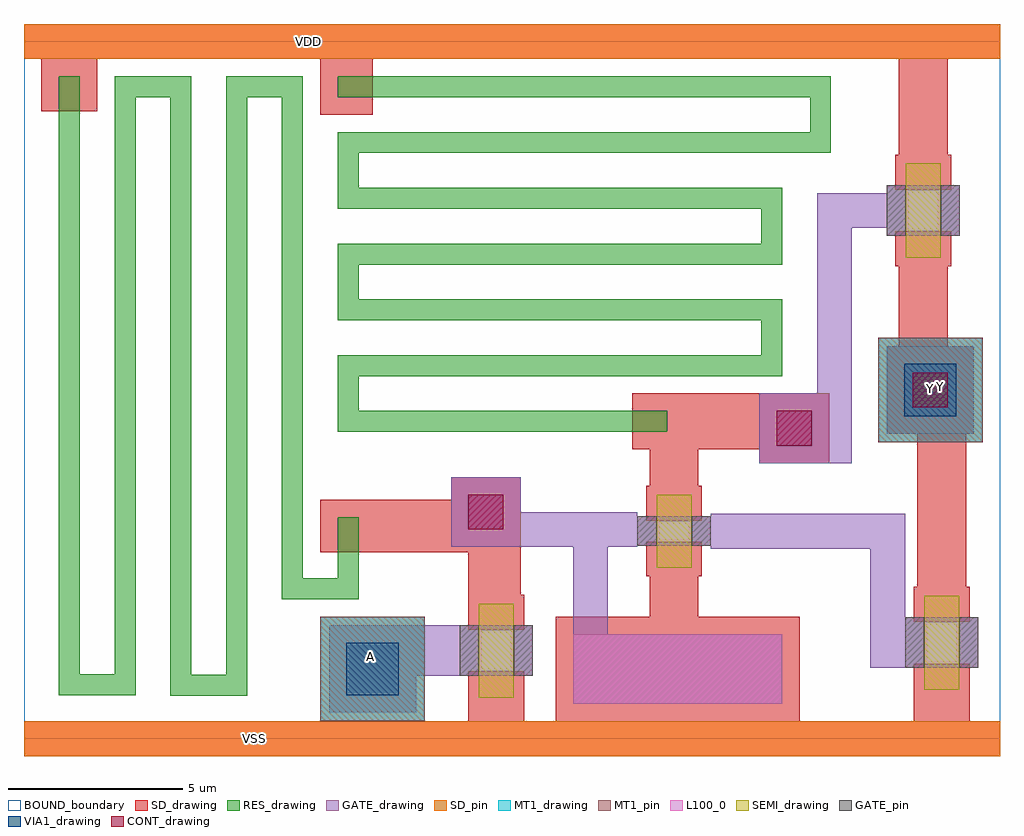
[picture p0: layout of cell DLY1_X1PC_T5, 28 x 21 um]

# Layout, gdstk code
from math import pi, radians
import gdstk
lib = gdstk.Library(unit=1e-6, precision=1e-09)
def R(c, l, rs):  # rectangles x0, y0, x1, y1
    for r in rs: c.add(gdstk.rectangle(r[:2], r[2:], *l))
def P(c, l, *ps):  # polygons
    for p in ps: c.add(gdstk.Polygon(p, *l))
RES_drawing = (1, 0)
SEMI_drawing = (3, 0)
SD_drawing = (10, 0)
SD_pin = (10, 3)
GATE_drawing = (11, 0)
GATE_pin = (11, 3)
MT1_drawing = (20, 0)
MT1_pin = (20, 3)
CONT_drawing = (30, 0)
VIA1_drawing = (41, 0)
L100_0 = (100, 0)
BOUND_boundary = (150, 5)

nch_cdns_772544866360 = lib.new_cell('nch_CDNS_772544866360')
R(nch_cdns_772544866360, SEMI_drawing, [(-1.05,-0.5,1.05,0.5)])
R(nch_cdns_772544866360, SD_drawing, [(-1.3,-0.8,-0.3,0.8), (0.3,-0.8,1.3,0.8)])
R(nch_cdns_772544866360, GATE_drawing, [(-0.425,-1.05,0.425,1.05)])
R(nch_cdns_772544866360, GATE_pin, [(-0.425,-1.05,0.425,-0.5), (-0.425,0.5,0.425,1.05)])

nch_cdns_772544866361 = lib.new_cell('nch_CDNS_772544866361')
R(nch_cdns_772544866361, SEMI_drawing, [(-1.35,-0.5,1.35,0.5)])
R(nch_cdns_772544866361, SD_drawing, [(-1.6,-0.8,-0.6,0.8), (0.6,-0.8,1.6,0.8)])
R(nch_cdns_772544866361, GATE_drawing, [(-0.725,-1.05,0.725,1.05)])
R(nch_cdns_772544866361, GATE_pin, [(-0.725,-1.05,0.725,-0.5), (-0.725,0.5,0.725,1.05)])

cap_cdns_772544866362 = lib.new_cell('cap_CDNS_772544866362')
R(cap_cdns_772544866362, SD_drawing, [(-1.5,-3.5,1.5,3.5)])
R(cap_cdns_772544866362, GATE_drawing, [(-1,-3,1,3)])
R(cap_cdns_772544866362, L100_0, [(-1,-3,1,3)])

sd_gate_cdns_77254486636 = lib.new_cell('SD_GATE_CDNS_772544866360')
R(sd_gate_cdns_77254486636, SD_drawing, [(-1,-1,1,1)])
R(sd_gate_cdns_77254486636, GATE_drawing, [(-1,-1,1,1)])
R(sd_gate_cdns_77254486636, CONT_drawing, [(-0.5,-0.5,0.5,0.5)])

gate_mt1_cdns_7725448663 = lib.new_cell('GATE_MT1_CDNS_772544866361')
R(gate_mt1_cdns_7725448663, GATE_drawing, [(-1.25,-1.25,1.25,1.25)])
R(gate_mt1_cdns_7725448663, MT1_drawing, [(-1.25,-1.25,1.25,1.25)])
R(gate_mt1_cdns_7725448663, VIA1_drawing, [(-0.75,-0.75,0.75,0.75)])

c_sd_gate_cdns_77254486636 = lib.new_cell('SD_GATE_CDNS_772544866362')
R(c_sd_gate_cdns_77254486636, SD_drawing, [(-1.25,-1.25,1.25,1.25)])
R(c_sd_gate_cdns_77254486636, GATE_drawing, [(-1.25,-1.25,1.25,1.25)])
R(c_sd_gate_cdns_77254486636, CONT_drawing, [(-0.5,-0.5,0.5,0.5)])

dly1_x1pc_t5 = lib.new_cell('DLY1_X1PC_T5')
R(dly1_x1pc_t5, SD_drawing, [(0,-0.5,28,0.5), (12.75,0.5,14.35,0.925), (12.75,4.125,14.25,6.9), (8.5,5.35,10.1,6.85), (9.9,5.35,11.5,6.85), (17.95,7.25,19.35,8.3), (17.45,8.3,18.95,9.9), (8.5,17.9,10,19.5), (0.5,18,2.1,19.5), (0,19.5,28,20.5)])
R(dly1_x1pc_t5, SD_pin, [(0,-0.5,28,0.5), (0,19.5,28,20.5)])
R(dly1_x1pc_t5, GATE_drawing, [(11.25,1.8,12.5,3.25), (22.75,7.9,23.75,15.65)])
P(dly1_x1pc_t5, GATE_drawing, [(19.8,6.45),(19.8,5.45),(19.7,5.45),(19.7,5.575),(19.65,5.575),(19.65,6.325),(19.7,6.325),(19.7,6.45)],
  [(17.5,6.5),(17.5,5.5),(17.6,5.5),(17.6,5.575),(17.65,5.575),(17.65,6.325),(17.6,6.325),(17.6,6.5)])
R(dly1_x1pc_t5, MT1_drawing, [(8.5,0.5,11.5,3.5), (24.5,8.5,27.5,11.5)])
R(dly1_x1pc_t5, MT1_pin, [(8.5,0.5,11.5,3.5), (24.5,8.5,27.5,11.5)])
R(dly1_x1pc_t5, BOUND_boundary, [(0,0,28,20)])
dly1_x1pc_t5.add(gdstk.FlexPath([(23.35,15.15),(24.75,15.15)], 1, ends=(0.5, 0), simple_path=True, layer=11, datatype=0))  # GATE_drawing
dly1_x1pc_t5.add(gdstk.FlexPath([(16.25,6),(16.25,1)], 1, ends=(0.5, 0), simple_path=True, layer=11, datatype=0))  # GATE_drawing
dly1_x1pc_t5.add(gdstk.FlexPath([(24.775,3.35),(24.775,5.95)], 1, ends=(1.325, 0.5), simple_path=True, layer=11, datatype=0))  # GATE_drawing
dly1_x1pc_t5.add(gdstk.FlexPath([(12.95,6),(16.25,6)], 1, ends=(0, 0.5), simple_path=True, layer=11, datatype=0))  # GATE_drawing
dly1_x1pc_t5.add(gdstk.FlexPath([(17.5,6),(16.25,6)], 1, ends=(0, 0.5), simple_path=True, layer=11, datatype=0))  # GATE_drawing
dly1_x1pc_t5.add(gdstk.FlexPath([(24.775,5.95),(19.8,5.95)], 1, ends=(0.5, 0), simple_path=True, layer=11, datatype=0))  # GATE_drawing
dly1_x1pc_t5.add(gdstk.FlexPath([(26.325,1.15),(26.325,0.5)], 1.6, ends="flush", simple_path=True, layer=10, datatype=0))  # SD_drawing
dly1_x1pc_t5.add(gdstk.FlexPath([(25.8,13.55),(25.8,11)], 1.4, ends="flush", simple_path=True, layer=10, datatype=0))  # SD_drawing
dly1_x1pc_t5.add(gdstk.FlexPath([(26.325,4.35),(26.325,9)], 1.4, ends="flush", simple_path=True, layer=10, datatype=0))  # SD_drawing
dly1_x1pc_t5.add(gdstk.FlexPath([(18.65,4.65),(18.65,3.5)], 1.4, ends="flush", simple_path=True, layer=10, datatype=0))  # SD_drawing
dly1_x1pc_t5.add(gdstk.FlexPath([(25.8,16.75),(25.8,19.5)], 1.4, ends="flush", simple_path=True, layer=10, datatype=0))  # SD_drawing
dly1_x1pc_t5.add(gdstk.FlexPath([(18.95,9.1),(23.1,9.1)], 1.6, ends="flush", simple_path=True, layer=10, datatype=0))  # SD_drawing
dly1_x1pc_t5.add(gdstk.FlexPath([(11.5,6.1),(13.25,6.1)], 1.5, ends="flush", simple_path=True, layer=10, datatype=0))  # SD_drawing
dly1_x1pc_t5.add(gdstk.FlexPath([(10,18.7),(22.85,18.7),(22.85,17.1),(9.3,17.1),(9.3,15.5),(21.45,15.5),(21.45,13.9),(9.3,13.9),(9.3,12.3),(21.45,12.3),(21.45,10.7),(9.3,10.7),(9.3,9.1),(17.45,9.1)], 0.6, ends=(1, 1), simple_path=True, layer=1, datatype=0))  # RES_drawing
dly1_x1pc_t5.add(gdstk.FlexPath([(1.3,18),(1.3,1.55),(2.9,1.55),(2.9,18.7),(4.5,18.7),(4.5,1.525),(6.1,1.525),(6.1,18.7),(7.7,18.7),(7.7,4.3),(9.3,4.3),(9.3,5.35)], 0.6, ends=(1, 1), simple_path=True, layer=1, datatype=0))  # RES_drawing
dly1_x1pc_t5.add(gdstk.Reference(nch_cdns_772544866360, (18.65,5.95), rotation=pi/2))
dly1_x1pc_t5.add(gdstk.Reference(nch_cdns_772544866361, (26.325,2.75), rotation=pi/2, x_reflection=True))
dly1_x1pc_t5.add(gdstk.Reference(nch_cdns_772544866361, (25.8,15.15), rotation=pi/2))
dly1_x1pc_t5.add(gdstk.Reference(nch_cdns_772544866361, (13.55,2.525), rotation=pi/2))
dly1_x1pc_t5.add(gdstk.Reference(cap_cdns_772544866362, (18.75,2), rotation=pi/2))
dly1_x1pc_t5.add(gdstk.Reference(sd_gate_cdns_77254486636, (22.1,8.9)))
dly1_x1pc_t5.add(gdstk.Reference(sd_gate_cdns_77254486636, (13.25,6.5)))
dly1_x1pc_t5.add(gdstk.Reference(gate_mt1_cdns_7725448663, (10,2)))
dly1_x1pc_t5.add(gdstk.Reference(gate_mt1_cdns_7725448663, (26,10)))
dly1_x1pc_t5.add(gdstk.Reference(c_sd_gate_cdns_77254486636, (26,10)))
dly1_x1pc_t5.add(gdstk.Label('VDD', (8.175,20), layer=10, texttype=3))
dly1_x1pc_t5.add(gdstk.Label('VSS', (6.6,0), layer=10, texttype=3))
dly1_x1pc_t5.add(gdstk.Label('A', (9.95,2.35), layer=20, texttype=3))
dly1_x1pc_t5.add(gdstk.Label('Y', (26,10.05), layer=20, texttype=3))
dly1_x1pc_t5.add(gdstk.Label('Y', (26.3,10.1), layer=20, texttype=0))

lib.write_gds('DLY1_X1PC_T5.gds')
